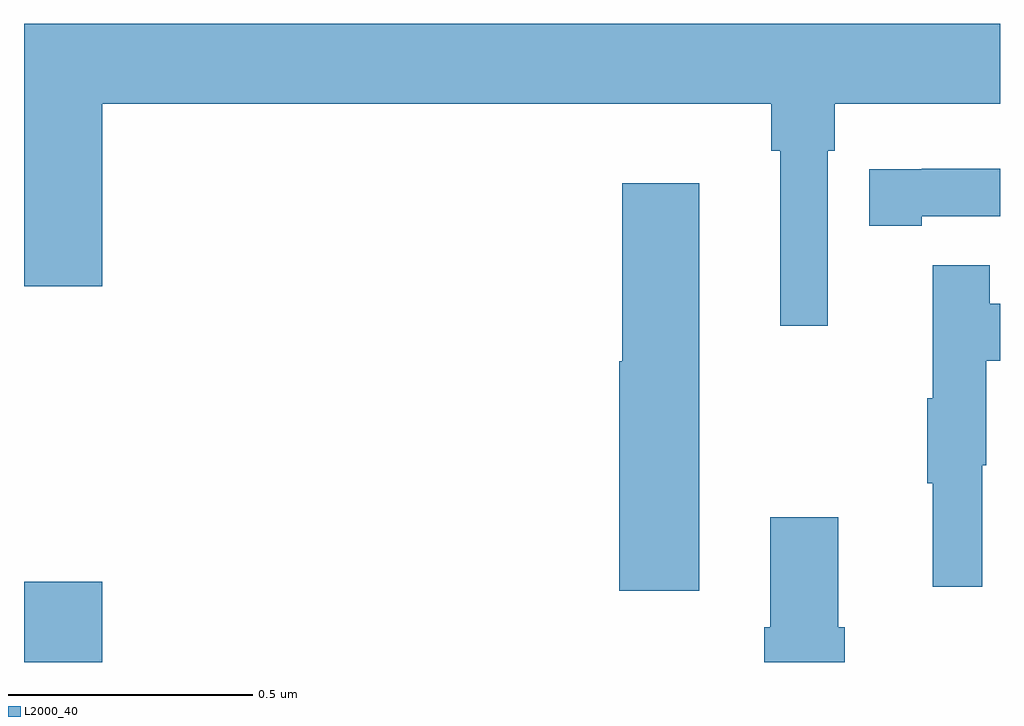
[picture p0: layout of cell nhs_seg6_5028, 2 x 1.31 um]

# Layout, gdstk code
import gdstk
lib = gdstk.Library(unit=1e-6, precision=1e-09)
def R(c, l, rs):  # rectangles x0, y0, x1, y1
    for r in rs: c.add(gdstk.rectangle(r[:2], r[2:], *l))
def P(c, l, *ps):  # polygons
    for p in ps: c.add(gdstk.Polygon(p, *l))
L2000_40 = (2000, 40)

nhs_seg6_5028 = lib.new_cell('nhs_seg6_5028')
R(nhs_seg6_5028, L2000_40, [(177,971.5,177.16,971.665)])
P(nhs_seg6_5028, L2000_40, [(177,972.27),(177.16,972.27),(177.16,972.644),(178.531,972.644),(178.531,972.548),(178.55,972.548),(178.55,972.189),(178.647,972.189),(178.647,972.548),(178.661,972.548),(178.661,972.644),(179,972.644),(179,972.808),(177,972.808)],
  [(178.84,972.414),(179,972.414),(179,972.511),(178.84,972.511),(178.84,972.51),(178.732,972.51),(178.732,972.394),(178.84,972.394)],
  [(178.384,972.481),(178.226,972.481),(178.226,972.117),(178.22,972.117),(178.22,971.646),(178.384,971.646)],
  [(178.964,971.904),(178.972,971.904),(178.972,972.118),(179,972.118),(179,972.234),(178.979,972.234),(178.979,972.313),(178.862,972.313),(178.862,972.041),(178.851,972.041),(178.851,971.867),(178.862,971.867),(178.862,971.655),(178.964,971.655)],
  [(178.682,971.572),(178.669,971.572),(178.669,971.797),(178.529,971.797),(178.529,971.572),(178.517,971.572),(178.517,971.5),(178.682,971.5)])

lib.write_gds('nhs_seg6_5028.gds')
